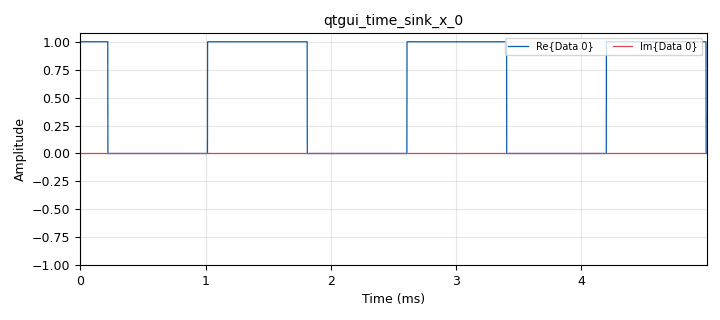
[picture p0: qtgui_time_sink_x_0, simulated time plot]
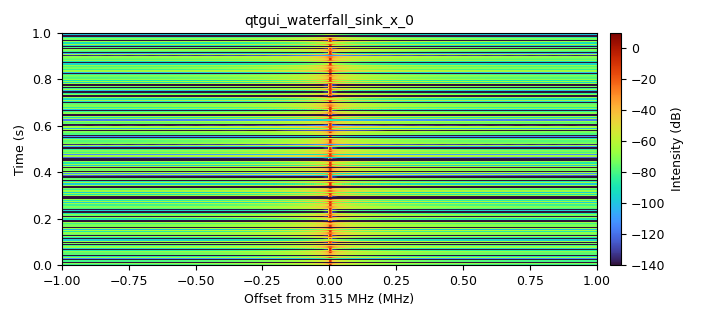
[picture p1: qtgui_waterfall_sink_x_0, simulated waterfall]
options:
  parameters:
    category: Custom
    description: Simple OOK synthesizer for Tesla charge ports.
    generate_options: qt_gui
    id: tesla_charge_port_remote_ook_synthesizer
    output_language: python
    title: Tesla Charge Port Remote
  states: {}

blocks:
- name: amp_gain
  id: variable_qtgui_range
  parameters:
    orient: Qt.Horizontal
    start: '1'
    step: '1'
    stop: '14'
    value: '10'
  states: {}
- name: samp_rate
  id: variable
  parameters:
    value: 2e6
  states: {}
- name: samples_per_symbol
  id: variable
  parameters:
    value: int(samp_rate * symbol_duration)
  states: {}
- name: single_thunk
  id: variable
  parameters:
    value: (1,0,1,0,1,0,1,0,1,0,1,0,1,0,1,0,1,0,1,0,1,0,1,0,1,0,0,0,1,0,1,0,1,1,0,0,1,0,1,1,0,0,1,1,0,0,1,0,1,1,0,0,1,1,0,0,1,1,0,0,1,1,0,0,1,1,0,0,1,0,1,1,0,1,0,0,1,1,0,1,0,0,1,0,1,1,0,1,0,1,0,0,1,0,1,0,1,1,0,1,0,0,1,1,0,1,0,0,1,1,0,0,1,0,1,0,1,0,1,1,0,1,0,0,1,0,1,1,0,0,0,1,0,1,0,1,1,0,0,1,0,1,1,0,0,1,1,0,0,1,0,1,1,0,0,1,1,0,0,1,1,0,0,1,1,0,0,1,1,0,0,1,0,1,1,0,1,0,0,1,1,0,1,0,0,1,0,1,1,0,1,0,1,0,0,1,0,1,0,1,1,0,1,0,0,1,1,0,1,0,0,1,1,0,0,1,0,1,0,1,0,1,1,0,1,0,0,1,0,1,1,0,0,0,1,0,1,0,1,1,0,0,1,0,1,1,0,0,1,1,0,0,1,0,1,1,0,0,1,1,0,0,1,1,0,0,1,1,0,0,1,1,0,0,1,0,1,1,0,1,0,0,1,1,0,1,0,0,1,0,1,1,0,1,0,1,0,0,1,0,1,0,1,1,0,1,0,0,1,1,0,1,0,0,1,1,0,0,1,0,1,0,1,0,1,1,0,1,0,0,1,0,1,0,0,0)
  states: {}
- name: symbol_duration
  id: variable
  parameters:
    value: '398e-6'
  states: {}
- name: symbol_rate
  id: variable
  parameters:
    value: 1/symbol_duration
  states: {}
- name: target_freq
  id: variable
  parameters:
    value: 315.000e6
  states: {}
- name: turn_it_up_to_10
  id: variable
  parameters:
    value: (1,0,1,0,1,0,1,0,1,0,1,0,1,0,1,0,1,0,1,0,1,0,1,0,1,0,0,0,1,0,1,0,1,1,0,0,1,0,1,1,0,0,1,1,0,0,1,0,1,1,0,0,1,1,0,0,1,1,0,0,1,1,0,0,1,1,0,0,1,0,1,1,0,1,0,0,1,1,0,1,0,0,1,0,1,1,0,1,0,1,0,0,1,0,1,0,1,1,0,1,0,0,1,1,0,1,0,0,1,1,0,0,1,0,1,0,1,0,1,1,0,1,0,0,1,0,1,1,0,0,0,1,0,1,0,1,1,0,0,1,0,1,1,0,0,1,1,0,0,1,0,1,1,0,0,1,1,0,0,1,1,0,0,1,1,0,0,1,1,0,0,1,0,1,1,0,1,0,0,1,1,0,1,0,0,1,0,1,1,0,1,0,1,0,0,1,0,1,0,1,1,0,1,0,0,1,1,0,1,0,0,1,1,0,0,1,0,1,0,1,0,1,1,0,1,0,0,1,0,1,1,0,0,0,1,0,1,0,1,1,0,0,1,0,1,1,0,0,1,1,0,0,1,0,1,1,0,0,1,1,0,0,1,1,0,0,1,1,0,0,1,1,0,0,1,0,1,1,0,1,0,0,1,1,0,1,0,0,1,0,1,1,0,1,0,1,0,0,1,0,1,0,1,1,0,1,0,0,1,1,0,1,0,0,1,1,0,0,1,0,1,0,1,0,1,1,0,1,0,0,1,0,1,0,0,0,1,0,1,0,1,0,1,0,1,0,1,0,1,0,1,0,1,0,1,0,1,0,1,0,1,0,0,0,1,0,1,0,1,1,0,0,1,0,1,1,0,0,1,1,0,0,1,0,1,1,0,0,1,1,0,0,1,1,0,0,1,1,0,0,1,1,0,0,1,0,1,1,0,1,0,0,1,1,0,1,0,0,1,0,1,1,0,1,0,1,0,0,1,0,1,0,1,1,0,1,0,0,1,1,0,1,0,0,1,1,0,0,1,0,1,0,1,0,1,1,0,1,0,0,1,0,1,1,0,0,0,1,0,1,0,1,1,0,0,1,0,1,1,0,0,1,1,0,0,1,0,1,1,0,0,1,1,0,0,1,1,0,0,1,1,0,0,1,1,0,0,1,0,1,1,0,1,0,0,1,1,0,1,0,0,1,0,1,1,0,1,0,1,0,0,1,0,1,0,1,1,0,1,0,0,1,1,0,1,0,0,1,1,0,0,1,0,1,0,1,0,1,1,0,1,0,0,1,0,1,1,0,0,0,1,0,1,0,1,1,0,0,1,0,1,1,0,0,1,1,0,0,1,0,1,1,0,0,1,1,0,0,1,1,0,0,1,1,0,0,1,1,0,0,1,0,1,1,0,1,0,0,1,1,0,1,0,0,1,0,1,1,0,1,0,1,0,0,1,0,1,0,1,1,0,1,0,0,1,1,0,1,0,0,1,1,0,0,1,0,1,0,1,0,1,1,0,1,0,0,1,0,1,0,0,0,1,0,1,0,1,0,1,0,1,0,1,0,1,0,1,0,1,0,1,0,1,0,1,0,1,0,0,0,1,0,1,0,1,1,0,0,1,0,1,1,0,0,1,1,0,0,1,0,1,1,0,0,1,1,0,0,1,1,0,0,1,1,0,0,1,1,0,0,1,0,1,1,0,1,0,0,1,1,0,1,0,0,1,0,1,1,0,1,0,1,0,0,1,0,1,0,1,1,0,1,0,0,1,1,0,1,0,0,1,1,0,0,1,0,1,0,1,0,1,1,0,1,0,0,1,0,1,1,0,0,0,1,0,1,0,1,1,0,0,1,0,1,1,0,0,1,1,0,0,1,0,1,1,0,0,1,1,0,0,1,1,0,0,1,1,0,0,1,1,0,0,1,0,1,1,0,1,0,0,1,1,0,1,0,0,1,0,1,1,0,1,0,1,0,0,1,0,1,0,1,1,0,1,0,0,1,1,0,1,0,0,1,1,0,0,1,0,1,0,1,0,1,1,0,1,0,0,1,0,1,1,0,0,0,1,0,1,0,1,1,0,0,1,0,1,1,0,0,1,1,0,0,1,0,1,1,0,0,1,1,0,0,1,1,0,0,1,1,0,0,1,1,0,0,1,0,1,1,0,1,0,0,1,1,0,1,0,0,1,0,1,1,0,1,0,1,0,0,1,0,1,0,1,1,0,1,0,0,1,1,0,1,0,0,1,1,0,0,1,0,1,0,1,0,1,1,0,1,0,0,1,0,1,0,0,0,1,0,1,0,1,0,1,0,1,0,1,0,1,0,1,0,1,0,1,0,1,0,1,0,1,0,0,0,1,0,1,0,1,1,0,0,1,0,1,1,0,0,1,1,0,0,1,0,1,1,0,0,1,1,0,0,1,1,0,0,1,1,0,0,1,1,0,0,1,0,1,1,0,1,0,0,1,1,0,1,0,0,1,0,1,1,0,1,0,1,0,0,1,0,1,0,1,1,0,1,0,0,1,1,0,1,0,0,1,1,0,0,1,0,1,0,1,0,1,1,0,1,0,0,1,0,1,1,0,0,0,1,0,1,0,1,1,0,0,1,0,1,1,0,0,1,1,0,0,1,0,1,1,0,0,1,1,0,0,1,1,0,0,1,1,0,0,1,1,0,0,1,0,1,1,0,1,0,0,1,1,0,1,0,0,1,0,1,1,0,1,0,1,0,0,1,0,1,0,1,1,0,1,0,0,1,1,0,1,0,0,1,1,0,0,1,0,1,0,1,0,1,1,0,1,0,0,1,0,1,1,0,0,0,1,0,1,0,1,1,0,0,1,0,1,1,0,0,1,1,0,0,1,0,1,1,0,0,1,1,0,0,1,1,0,0,1,1,0,0,1,1,0,0,1,0,1,1,0,1,0,0,1,1,0,1,0,0,1,0,1,1,0,1,0,1,0,0,1,0,1,0,1,1,0,1,0,0,1,1,0,1,0,0,1,1,0,0,1,0,1,0,1,0,1,1,0,1,0,0,1,0,1,0,0,0,1,0,1,0,1,0,1,0,1,0,1,0,1,0,1,0,1,0,1,0,1,0,1,0,1,0,0,0,1,0,1,0,1,1,0,0,1,0,1,1,0,0,1,1,0,0,1,0,1,1,0,0,1,1,0,0,1,1,0,0,1,1,0,0,1,1,0,0,1,0,1,1,0,1,0,0,1,1,0,1,0,0,1,0,1,1,0,1,0,1,0,0,1,0,1,0,1,1,0,1,0,0,1,1,0,1,0,0,1,1,0,0,1,0,1,0,1,0,1,1,0,1,0,0,1,0,1,1,0,0,0,1,0,1,0,1,1,0,0,1,0,1,1,0,0,1,1,0,0,1,0,1,1,0,0,1,1,0,0,1,1,0,0,1,1,0,0,1,1,0,0,1,0,1,1,0,1,0,0,1,1,0,1,0,0,1,0,1,1,0,1,0,1,0,0,1,0,1,0,1,1,0,1,0,0,1,1,0,1,0,0,1,1,0,0,1,0,1,0,1,0,1,1,0,1,0,0,1,0,1,1,0,0,0,1,0,1,0,1,1,0,0,1,0,1,1,0,0,1,1,0,0,1,0,1,1,0,0,1,1,0,0,1,1,0,0,1,1,0,0,1,1,0,0,1,0,1,1,0,1,0,0,1,1,0,1,0,0,1,0,1,1,0,1,0,1,0,0,1,0,1,0,1,1,0,1,0,0,1,1,0,1,0,0,1,1,0,0,1,0,1,0,1,0,1,1,0,1,0,0,1,0,1,0,0,0,1,0,1,0,1,0,1,0,1,0,1,0,1,0,1,0,1,0,1,0,1,0,1,0,1,0,0,0,1,0,1,0,1,1,0,0,1,0,1,1,0,0,1,1,0,0,1,0,1,1,0,0,1,1,0,0,1,1,0,0,1,1,0,0,1,1,0,0,1,0,1,1,0,1,0,0,1,1,0,1,0,0,1,0,1,1,0,1,0,1,0,0,1,0,1,0,1,1,0,1,0,0,1,1,0,1,0,0,1,1,0,0,1,0,1,0,1,0,1,1,0,1,0,0,1,0,1,1,0,0,0,1,0,1,0,1,1,0,0,1,0,1,1,0,0,1,1,0,0,1,0,1,1,0,0,1,1,0,0,1,1,0,0,1,1,0,0,1,1,0,0,1,0,1,1,0,1,0,0,1,1,0,1,0,0,1,0,1,1,0,1,0,1,0,0,1,0,1,0,1,1,0,1,0,0,1,1,0,1,0,0,1,1,0,0,1,0,1,0,1,0,1,1,0,1,0,0,1,0,1,1,0,0,0,1,0,1,0,1,1,0,0,1,0,1,1,0,0,1,1,0,0,1,0,1,1,0,0,1,1,0,0,1,1,0,0,1,1,0,0,1,1,0,0,1,0,1,1,0,1,0,0,1,1,0,1,0,0,1,0,1,1,0,1,0,1,0,0,1,0,1,0,1,1,0,1,0,0,1,1,0,1,0,0,1,1,0,0,1,0,1,0,1,0,1,1,0,1,0,0,1,0,1,0,0,0,1,0,1,0,1,0,1,0,1,0,1,0,1,0,1,0,1,0,1,0,1,0,1,0,1,0,0,0,1,0,1,0,1,1,0,0,1,0,1,1,0,0,1,1,0,0,1,0,1,1,0,0,1,1,0,0,1,1,0,0,1,1,0,0,1,1,0,0,1,0,1,1,0,1,0,0,1,1,0,1,0,0,1,0,1,1,0,1,0,1,0,0,1,0,1,0,1,1,0,1,0,0,1,1,0,1,0,0,1,1,0,0,1,0,1,0,1,0,1,1,0,1,0,0,1,0,1,1,0,0,0,1,0,1,0,1,1,0,0,1,0,1,1,0,0,1,1,0,0,1,0,1,1,0,0,1,1,0,0,1,1,0,0,1,1,0,0,1,1,0,0,1,0,1,1,0,1,0,0,1,1,0,1,0,0,1,0,1,1,0,1,0,1,0,0,1,0,1,0,1,1,0,1,0,0,1,1,0,1,0,0,1,1,0,0,1,0,1,0,1,0,1,1,0,1,0,0,1,0,1,1,0,0,0,1,0,1,0,1,1,0,0,1,0,1,1,0,0,1,1,0,0,1,0,1,1,0,0,1,1,0,0,1,1,0,0,1,1,0,0,1,1,0,0,1,0,1,1,0,1,0,0,1,1,0,1,0,0,1,0,1,1,0,1,0,1,0,0,1,0,1,0,1,1,0,1,0,0,1,1,0,1,0,0,1,1,0,0,1,0,1,0,1,0,1,1,0,1,0,0,1,0,1,0,0,0,1,0,1,0,1,0,1,0,1,0,1,0,1,0,1,0,1,0,1,0,1,0,1,0,1,0,0,0,1,0,1,0,1,1,0,0,1,0,1,1,0,0,1,1,0,0,1,0,1,1,0,0,1,1,0,0,1,1,0,0,1,1,0,0,1,1,0,0,1,0,1,1,0,1,0,0,1,1,0,1,0,0,1,0,1,1,0,1,0,1,0,0,1,0,1,0,1,1,0,1,0,0,1,1,0,1,0,0,1,1,0,0,1,0,1,0,1,0,1,1,0,1,0,0,1,0,1,1,0,0,0,1,0,1,0,1,1,0,0,1,0,1,1,0,0,1,1,0,0,1,0,1,1,0,0,1,1,0,0,1,1,0,0,1,1,0,0,1,1,0,0,1,0,1,1,0,1,0,0,1,1,0,1,0,0,1,0,1,1,0,1,0,1,0,0,1,0,1,0,1,1,0,1,0,0,1,1,0,1,0,0,1,1,0,0,1,0,1,0,1,0,1,1,0,1,0,0,1,0,1,1,0,0,0,1,0,1,0,1,1,0,0,1,0,1,1,0,0,1,1,0,0,1,0,1,1,0,0,1,1,0,0,1,1,0,0,1,1,0,0,1,1,0,0,1,0,1,1,0,1,0,0,1,1,0,1,0,0,1,0,1,1,0,1,0,1,0,0,1,0,1,0,1,1,0,1,0,0,1,1,0,1,0,0,1,1,0,0,1,0,1,0,1,0,1,1,0,1,0,0,1,0,1,0,0,0,1,0,1,0,1,0,1,0,1,0,1,0,1,0,1,0,1,0,1,0,1,0,1,0,1,0,0,0,1,0,1,0,1,1,0,0,1,0,1,1,0,0,1,1,0,0,1,0,1,1,0,0,1,1,0,0,1,1,0,0,1,1,0,0,1,1,0,0,1,0,1,1,0,1,0,0,1,1,0,1,0,0,1,0,1,1,0,1,0,1,0,0,1,0,1,0,1,1,0,1,0,0,1,1,0,1,0,0,1,1,0,0,1,0,1,0,1,0,1,1,0,1,0,0,1,0,1,1,0,0,0,1,0,1,0,1,1,0,0,1,0,1,1,0,0,1,1,0,0,1,0,1,1,0,0,1,1,0,0,1,1,0,0,1,1,0,0,1,1,0,0,1,0,1,1,0,1,0,0,1,1,0,1,0,0,1,0,1,1,0,1,0,1,0,0,1,0,1,0,1,1,0,1,0,0,1,1,0,1,0,0,1,1,0,0,1,0,1,0,1,0,1,1,0,1,0,0,1,0,1,1,0,0,0,1,0,1,0,1,1,0,0,1,0,1,1,0,0,1,1,0,0,1,0,1,1,0,0,1,1,0,0,1,1,0,0,1,1,0,0,1,1,0,0,1,0,1,1,0,1,0,0,1,1,0,1,0,0,1,0,1,1,0,1,0,1,0,0,1,0,1,0,1,1,0,1,0,0,1,1,0,1,0,0,1,1,0,0,1,0,1,0,1,0,1,1,0,1,0,0,1,0,1,0,0,0,1,0,1,0,1,0,1,0,1,0,1,0,1,0,1,0,1,0,1,0,1,0,1,0,1,0,0,0,1,0,1,0,1,1,0,0,1,0,1,1,0,0,1,1,0,0,1,0,1,1,0,0,1,1,0,0,1,1,0,0,1,1,0,0,1,1,0,0,1,0,1,1,0,1,0,0,1,1,0,1,0,0,1,0,1,1,0,1,0,1,0,0,1,0,1,0,1,1,0,1,0,0,1,1,0,1,0,0,1,1,0,0,1,0,1,0,1,0,1,1,0,1,0,0,1,0,1,1,0,0,0,1,0,1,0,1,1,0,0,1,0,1,1,0,0,1,1,0,0,1,0,1,1,0,0,1,1,0,0,1,1,0,0,1,1,0,0,1,1,0,0,1,0,1,1,0,1,0,0,1,1,0,1,0,0,1,0,1,1,0,1,0,1,0,0,1,0,1,0,1,1,0,1,0,0,1,1,0,1,0,0,1,1,0,0,1,0,1,0,1,0,1,1,0,1,0,0,1,0,1,1,0,0,0,1,0,1,0,1,1,0,0,1,0,1,1,0,0,1,1,0,0,1,0,1,1,0,0,1,1,0,0,1,1,0,0,1,1,0,0,1,1,0,0,1,0,1,1,0,1,0,0,1,1,0,1,0,0,1,0,1,1,0,1,0,1,0,0,1,0,1,0,1,1,0,1,0,0,1,1,0,1,0,0,1,1,0,0,1,0,1,0,1,0,1,1,0,1,0,0,1,0,1,0,0,0)
  states: {}
- name: vga_gain
  id: variable_qtgui_range
  parameters:
    orient: Qt.Horizontal
    start: '1'
    step: '5'
    stop: '100'
    value: '10'
  states: {}
- name: blocks_float_to_complex_0
  id: blocks_float_to_complex
  parameters: {}
  states: {}
- name: blocks_null_source_0
  id: blocks_null_source
  parameters:
    type: byte
  states: {state: disabled}
- name: blocks_repeat_0
  id: blocks_repeat
  parameters:
    comment: This "stretches" out each bit so that it matches the current duration of the measured symbol
    interp: samples_per_symbol
    type: float
  states: {}
- name: blocks_uchar_to_float_0
  id: blocks_uchar_to_float
  parameters: {}
  states: {}
- name: blocks_vector_source_x_0
  id: blocks_vector_source_x
  parameters:
    repeat: 'True'
    type: byte
    vector: single_thunk
  states: {}
- name: blocks_vector_source_x_0_0
  id: blocks_vector_source_x
  parameters:
    repeat: 'True'
    type: byte
    vector: turn_it_up_to_10
  states: {state: disabled}
- name: osmosdr_sink_0
  id: osmosdr_sink
  parameters:
    bb_gain0: '20'
    freq0: target_freq
    gain0: '10'
    if_gain0: '20'
    sample_rate: samp_rate
    sync: sync
    type: fc32
  states: {state: disabled}
- name: qtgui_time_sink_x_0
  id: qtgui_time_sink_x
  parameters:
    size: '10000'
    srate: samp_rate
    type: complex
  states: {}
- name: qtgui_waterfall_sink_x_0
  id: qtgui_waterfall_sink_x
  parameters:
    bw: samp_rate
    fc: target_freq
    fftsize: '1024'
    type: complex
    wintype: firdes.WIN_BLACKMAN_hARRIS
  states: {}
- name: uhd_usrp_sink_0
  id: uhd_usrp_sink
  parameters:
    ant0: TX/RX
    center_freq0: target_freq
    dev_args: '""'
    gain0: '70'
    len_tag_name: ''
    norm_gain0: 'False'
    samp_rate: samp_rate
    sync: sync
    type: fc32
  states: {state: disabled}

connections:
- [blocks_float_to_complex_0, '0', osmosdr_sink_0, command]
- [blocks_float_to_complex_0, '0', qtgui_time_sink_x_0, '0']
- [blocks_float_to_complex_0, '0', qtgui_waterfall_sink_x_0, '0']
- [blocks_float_to_complex_0, '0', uhd_usrp_sink_0, command]
- [blocks_null_source_0, '0', blocks_uchar_to_float_0, '0']
- [blocks_repeat_0, '0', blocks_float_to_complex_0, '0']
- [blocks_uchar_to_float_0, '0', blocks_repeat_0, '0']
- [blocks_vector_source_x_0, '0', blocks_uchar_to_float_0, '0']
- [blocks_vector_source_x_0_0, '0', blocks_uchar_to_float_0, '0']

metadata:
  file_format: 1
